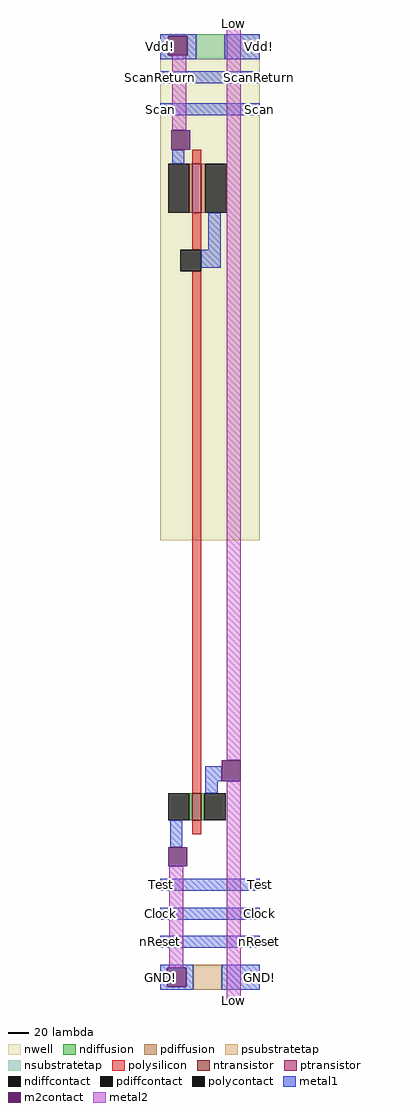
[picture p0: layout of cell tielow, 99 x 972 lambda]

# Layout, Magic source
magic
tech tsmc180
<< nwell >>
rect 0 458 99 962
<< polysilicon >>
rect 32 833 41 847
rect 32 747 41 784
rect 32 206 41 726
rect 32 165 41 179
<< ndiffusion >>
rect 29 179 32 206
rect 41 179 44 206
<< pdiffusion >>
rect 29 784 32 833
rect 41 784 45 833
<< ntransistor >>
rect 32 179 41 206
<< ptransistor >>
rect 32 784 41 833
<< polycontact >>
rect 20 726 41 747
<< ndiffcontact >>
rect 8 179 29 206
rect 44 179 65 206
<< pdiffcontact >>
rect 8 784 29 833
rect 45 784 66 833
<< psubstratetap >>
rect 33 10 61 35
<< nsubstratetap >>
rect 36 937 64 962
<< metal1 >>
rect 0 960 36 962
rect 0 941 8 960
rect 27 941 36 960
rect 0 937 36 941
rect 64 937 99 962
rect 0 913 99 925
rect 0 881 99 893
rect 12 833 24 847
rect 48 747 60 784
rect 41 729 60 747
rect 45 218 61 233
rect 45 206 57 218
rect 10 152 22 179
rect 0 109 99 121
rect 0 80 99 92
rect 0 52 99 64
rect 0 32 33 35
rect 0 13 7 32
rect 26 13 33 32
rect 0 10 33 13
rect 61 10 99 35
<< m2contact >>
rect 8 941 27 960
rect 11 847 30 866
rect 61 218 80 239
rect 8 133 27 152
rect 7 13 26 32
<< metal2 >>
rect 12 866 26 941
rect 66 239 80 972
rect 9 32 23 133
rect 66 0 80 218
<< labels >>
rlabel metal1 0 10 0 35 3 GND!
rlabel metal1 99 10 99 35 7 GND!
rlabel metal1 0 52 0 64 3 nReset
rlabel metal1 99 52 99 64 7 nReset
rlabel metal1 0 80 0 92 3 Clock
rlabel metal1 99 80 99 92 7 Clock
rlabel metal1 0 109 0 121 3 Test
rlabel metal1 99 109 99 121 7 Test
rlabel metal1 0 913 0 925 3 ScanReturn
rlabel metal1 0 937 0 962 3 Vdd!
rlabel metal1 99 937 99 962 7 Vdd!
rlabel metal1 99 913 99 925 7 ScanReturn
rlabel metal1 0 881 0 893 3 Scan
rlabel metal1 99 881 99 893 7 Scan
rlabel metal2 66 972 80 972 5 Low
rlabel metal2 66 0 80 0 1 Low
<< end >>
